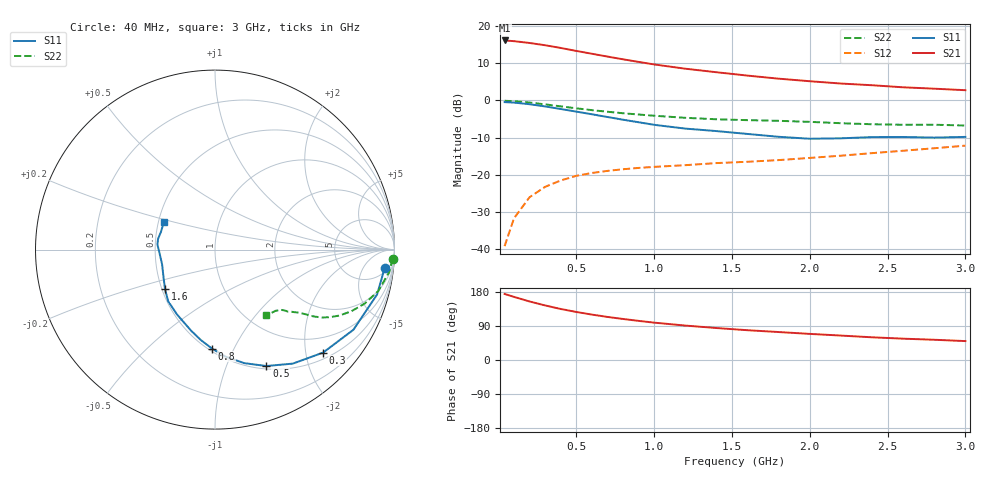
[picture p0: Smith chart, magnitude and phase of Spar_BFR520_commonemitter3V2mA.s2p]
! Filename:  BFR520A.S2P  Version:  2.1
! NXP part #: BFR520  Date: Sep 1991
! Bias condition: Vce=3V, Ic=2mA
#  MHz  S  MA  R  50
! Freq  S11  S21  S12  S22  !GUM [dB]
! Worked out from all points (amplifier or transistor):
!   21 points, 40 MHz to 3 GHz, reference 50 ohm
!   highest |S21| = 16.1 dB at 40 MHz (marker M1)
!   |S21| within 3 dB of that: start of sweep to 524.6 MHz
!   unconditionally stable (mu >= 1): 1.661 GHz to end of sweep
!   at 300 MHz: K = 0.23, MSG = 19.0 dB, |S12| = -23.2 dB
!   at 1 GHz: K = 0.70, MSG = 13.8 dB, |S12| = -17.9 dB
!   at 3 GHz: K = 1.06, MAG = 5.9 dB, |S12| = -12.1 dB
!   S11 on the Smith chart (normalised r, x): 40 MHz: 7, -15; 300 MHz: 0.63, -2.36; 500 MHz: 0.53, -1.39; 800 MHz: 0.52, -0.83; 1.6 GHz: 0.52, -0.26; 3 GHz: 0.53, +0.19
40  0.951 -6.2  6.413 174.3  0.011 87.8  0.991 -3.0
100  0.937 -15.5  6.275 166.6  0.026 80.5  0.978 -7.4
200  0.891 -30.1  5.934 154.5  0.05 72.8  0.939 -14.2
300  0.832 -43.6  5.531 144.0  0.069 66.5  0.887 -19.8
400  0.769 -55.7  5.087 134.7  0.084 60.9  0.834 -24.3
500  0.709 -66.2  4.639 126.8  0.097 57.3  0.785 -27.9
600  0.653 -75.6  4.249 119.9  0.106 54.2  0.742 -30.5
700  0.6 -84.2  3.897 113.7  0.113 52.3  0.706 -32.4
800  0.552 -91.7  3.578 108.3  0.119 51.1  0.674 -33.7
900  0.51 -98.9  3.302 103.3  0.124 50.3  0.648 -34.7
1000  0.471 -106.4  3.054 98.6  0.128 50.0  0.624 -35.4
1200  0.419 -120.3  2.676 90.9  0.135 50.2  0.585 -36.9
1400  0.388 -132.3  2.399 84.4  0.144 51.5  0.559 -38.5
1600  0.355 -141.7  2.161 78.6  0.15 53.4  0.544 -39.4
1800  0.325 -152.0  1.965 73.8  0.158 56.4  0.533 -40.4
2000  0.306 -164.4  1.815 68.9  0.169 58.5  0.516 -41.1
2200  0.31 -176.7  1.69 64.5  0.181 60.7  0.495 -42.6
2400  0.322 175.1  1.604 59.9  0.196 62.6  0.479 -45.5
2600  0.323 169.6  1.504 56.3  0.211 64.0  0.472 -48.7
2800  0.317 161.7  1.441 53.4  0.228 65.6  0.472 -50.8
3000  0.324 151.3  1.375 49.9  0.247 66.5  0.461 -52.0
